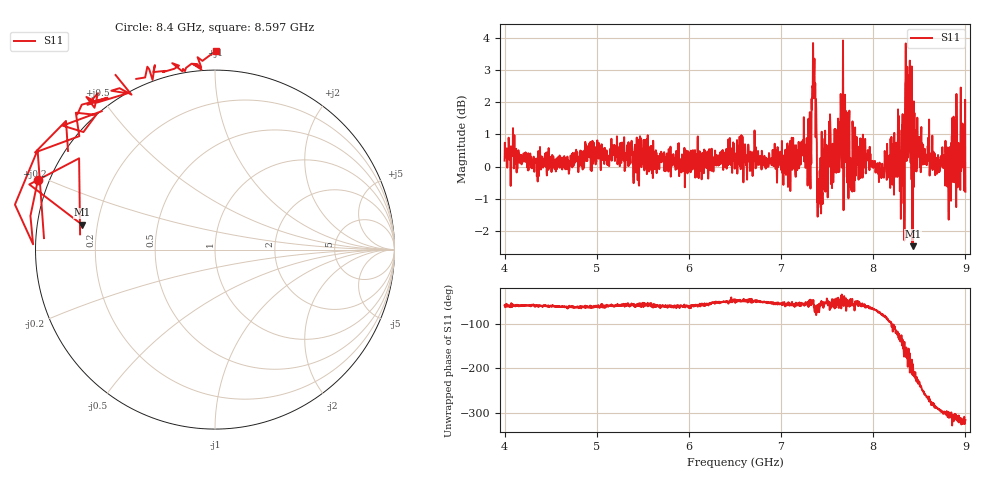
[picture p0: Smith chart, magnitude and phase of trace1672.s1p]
! Created with skrf 1.8.0 (http://scikit-rf.org).
# Hz S RI R 50.0
!freq ReS11 ImS11
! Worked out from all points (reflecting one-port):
!   1601 points, 4 GHz to 9 GHz, reference 50 ohm
!   lowest |S11| = -2.5 dB at 8.431 GHz (marker M1), VSWR 7.09, Z = 7.11 + j4.53 ohm
!   phase of S11 starts at -57 deg and turns -260 deg over the sweep
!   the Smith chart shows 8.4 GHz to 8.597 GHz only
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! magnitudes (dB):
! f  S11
! 4 GHz  0.2
! 4.625 GHz  -0.1
! 5.25 GHz  0.0
! 5.875 GHz  0.3
! 6.5 GHz  0.2
! 7.125 GHz  0.5
! 7.303 GHz  -0.1
! 7.356 GHz  2.7
! 7.412 GHz  -0.6
! 7.512 GHz  0.6
! 7.612 GHz  0.7
! 7.669 GHz  1.4
! 7.75 GHz  -0.3
! 7.928 GHz  0.3
! 8.097 GHz  0.1
! 8.231 GHz  0.0
! 8.259 GHz  0.6
! 8.316 GHz  1.0
! 8.334 GHz  0.7
! 8.375 GHz  2.0
! 8.384 GHz  2.8
! 8.394 GHz  0.5
! 8.412 GHz  1.1
! 8.431 GHz  -2.5
! 8.825 GHz  0.1
! 8.884 GHz  1.3
! 8.972 GHz  0.7
! 9 GHz  -0.8
